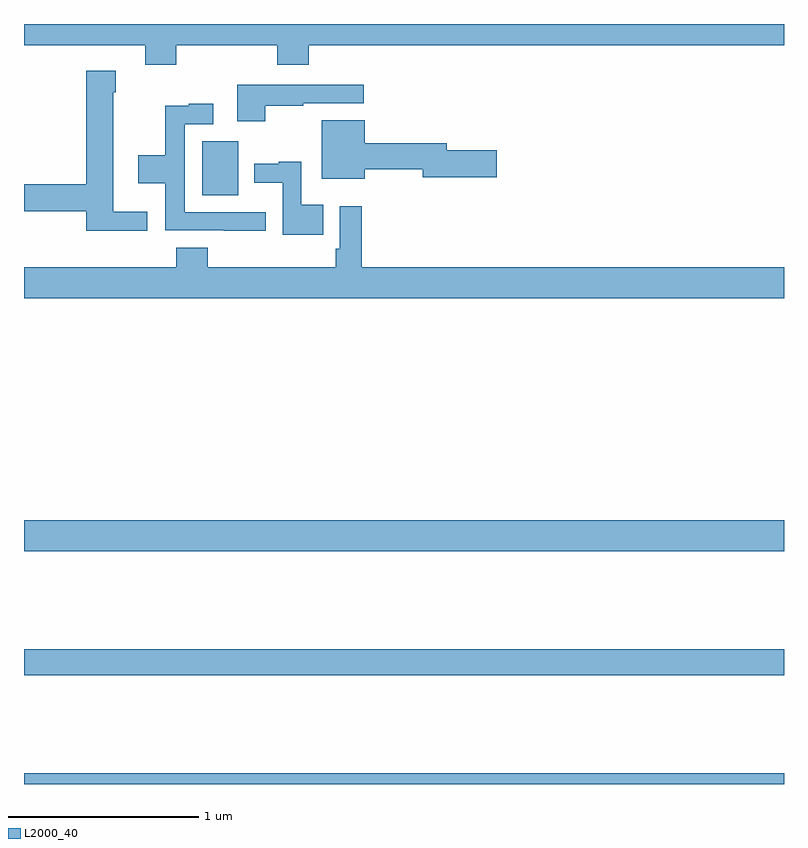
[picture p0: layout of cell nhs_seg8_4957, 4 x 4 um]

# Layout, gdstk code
import gdstk
lib = gdstk.Library(unit=1e-6, precision=1e-09)
def R(c, l, rs):  # rectangles x0, y0, x1, y1
    for r in rs: c.add(gdstk.rectangle(r[:2], r[2:], *l))
def P(c, l, *ps):  # polygons
    for p in ps: c.add(gdstk.Polygon(p, *l))
L2000_40 = (2000, 40)

nhs_seg8_4957 = lib.new_cell('nhs_seg8_4957')
R(nhs_seg8_4957, L2000_40, [(409,1157.9,413,1157.956), (409,1158.472,413,1158.608), (409,1159.124,413,1159.288), (409.937,1160.999,410.128,1161.283)])
P(nhs_seg8_4957, L2000_40, [(409.802,1161.788),(410.333,1161.788),(410.333,1161.686),(410.498,1161.686),(410.498,1161.788),(413,1161.788),(413,1161.9),(409,1161.9),(409,1161.788),(409.637,1161.788),(409.637,1161.686),(409.802,1161.686)],
  [(409.648,1160.911),(409.471,1160.911),(409.471,1161.542),(409.484,1161.542),(409.484,1161.655),(409.328,1161.655),(409.328,1161.056),(409,1161.056),(409,1160.914),(409.328,1160.914),(409.328,1160.813),(409.648,1160.813)],
  [(410.271,1161.471),(410.471,1161.471),(410.471,1161.483),(410.788,1161.483),(410.788,1161.579),(410.123,1161.579),(410.123,1161.387),(410.271,1161.387)],
  [(410.272,1160.91),(409.845,1160.91),(409.845,1161.372),(409.996,1161.372),(409.996,1161.481),(409.868,1161.481),(409.868,1161.47),(409.744,1161.47),(409.744,1161.21),(409.602,1161.21),(409.602,1161.062),(409.744,1161.062),(409.744,1160.814),(410.05,1160.814),(410.05,1160.813),(410.272,1160.813)],
  [(410.794,1161.136),(411.098,1161.136),(411.098,1161.094),(411.487,1161.094),(411.487,1161.236),(411.226,1161.236),(411.226,1161.272),(410.794,1161.272),(410.794,1161.394),(410.567,1161.394),(410.567,1161.086),(410.794,1161.086)],
  [(410.576,1160.95),(410.46,1160.95),(410.46,1161.175),(410.34,1161.175),(410.34,1161.165),(410.213,1161.165),(410.213,1161.065),(410.362,1161.065),(410.362,1160.792),(410.576,1160.792)],
  [(413,1160.62),(410.777,1160.62),(410.777,1160.941),(410.661,1160.941),(410.661,1160.716),(410.641,1160.716),(410.641,1160.62),(409.967,1160.62),(409.967,1160.722),(409.802,1160.722),(409.802,1160.62),(409,1160.62),(409,1160.456),(413,1160.456)])

lib.write_gds('nhs_seg8_4957.gds')
